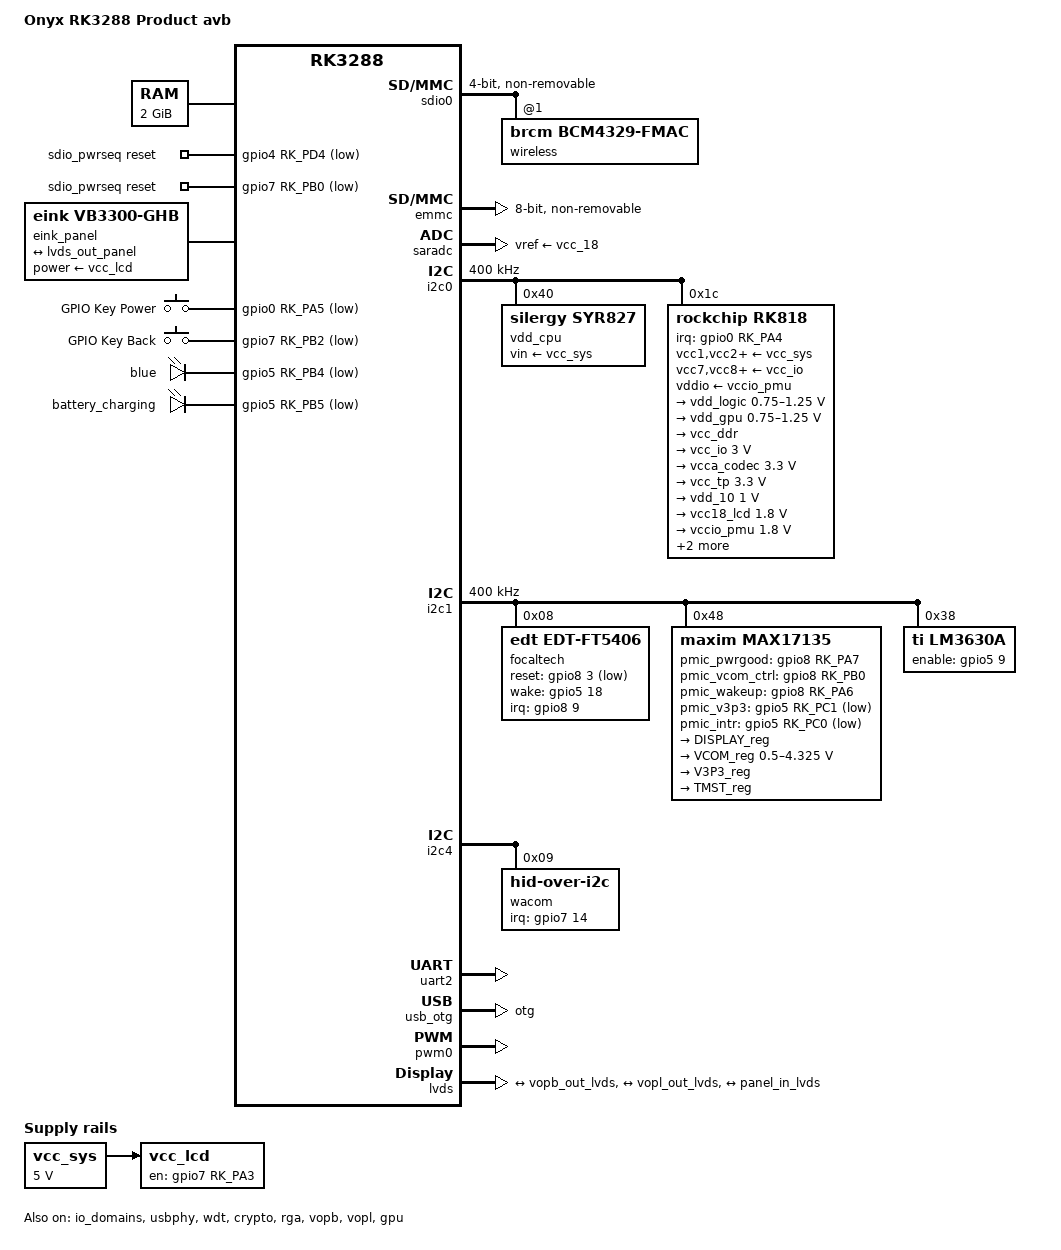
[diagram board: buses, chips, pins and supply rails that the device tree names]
// SPDX-License-Identifier: (GPL-2.0+ OR MIT)
/dts-v1/;

#include <dt-bindings/input/input.h>
#include <dt-bindings/clock/rockchip,rk808.h>
#include "rk3288.dtsi"

/ {
	compatible = "rockchip,rk3288-evb-rk808", "rockchip,rk3288";
	model = "Onyx RK3288 Product avb";

	chosen {
		stdout-path = "serial2:115200n8";
	};

	memory@0 {
		device_type = "memory";
		reg = <0x0 0x0 0x0 0x80000000>;
	};

	psci {
		compatible = "arm,psci-1.0";
		method = "smc";
	};

	timer: timer@ff6b0000 {
			compatible = "rockchip,rk3288-timer";
			reg = <0x0 0xff6b0000 0x0 0x20>;
			interrupts = <GIC_SPI 66 IRQ_TYPE_LEVEL_HIGH>;
			clocks = <&cru PCLK_TIMER>, <&xin24m>;
			clock-names = "pclk", "timer";
	};

	sdio_pwrseq: sdio-pwrseq {
		compatible = "mmc-pwrseq-simple";
		clocks = <&rk818 RK808_CLKOUT1>;
		clock-names = "ext_clock";
		pinctrl-names = "default";
		pinctrl-0 = <&wifi_enable_h &chip_enable_h>;
		reset-gpios = <&gpio4 RK_PD4 GPIO_ACTIVE_LOW>, <&gpio7 RK_PB0 GPIO_ACTIVE_LOW>;
	};

	vcc_sys: vsys-regulator {
		compatible = "regulator-fixed";
		regulator-name = "vcc_sys";
		regulator-min-microvolt = <5000000>;
		regulator-max-microvolt = <5000000>;
		regulator-always-on;
		regulator-boot-on;
	};

	vcc_lcd: vcc-lcd {
		compatible = "regulator-fixed";
		regulator-name = "vcc_lcd";
		enable-active-high;
		regulator-boot-on;
		gpio = <&gpio7 RK_PA3 GPIO_ACTIVE_HIGH>;
		pinctrl-names = "default";
		pinctrl-0 = <&lcd_en>;
		vin-supply = <&vcc_sys>;
	};

	eink_panel {
		compatible = "eink,vb3300-ghb";
		status = "okay";
		power-supply = <&vcc_lcd>;
		port {
			panel_in_lvds: endpoint {
				remote-endpoint = <&lvds_out_panel>;
			};
		};
	};

	gpio-keys {
		compatible = "gpio-keys";

		pinctrl-names = "default";
		pinctrl-0 = <&btns_pinctrl>;

		power {
			gpios = <&gpio0 RK_PA5 GPIO_ACTIVE_LOW>;
			linux,code = <KEY_POWER>;
			label = "GPIO Key Power";
			linux,input-type = <1>;
			wakeup-source;
		};
		back {
			gpios = <&gpio7 RK_PB2 GPIO_ACTIVE_LOW>;
			linux,code = <KEY_BACK>;
			label = "GPIO Key Back";
			linux,input-type = <1>;
		};
	};

	leds {
		compatible = "gpio-leds";
		led-blue {
			label = "blue";
			gpios = <&gpio5 RK_PB4 GPIO_ACTIVE_LOW>;
			default-state = "on";
		};
		led-red {
			label = "battery_charging";
			gpios = <&gpio5 RK_PB5 GPIO_ACTIVE_LOW>;
			default-state = "off";
			linux,default-trigger = "heartbeat";
		};
	};

};

/delete-node/ &timer;

&cpus {
	enable-method = "rockchip,psci-smp";
};

&cpu0 {
	cpu-supply = <&vdd_cpu>;
};

&dmac_bus_s {
	reg = <0x0 0xff600000 0x0 0x4000>;
};

&sdio0 {
	max-frequency = <25000000>;
	bus-width = <4>;
	cap-sd-highspeed;
	cap-sdio-irq;
	disable-wp;
	mmc-pwrseq = <&sdio_pwrseq>;
	non-removable;
	num-slots = <1>;
	pinctrl-names = "default";
	pinctrl-0 = <&sdio0_bus4 &sdio0_cmd &sdio0_clk &sdio0_int>;
	sd-uhs-sdr104;
	supports-sdio;
	#address-cells = <1>;
	#size-cells = <0>;
	status = "okay";
	wireless: wifi@1 {
		compatible = "brcm,bcm4329-fmac";
		reg = <1>;
	};
};

&emmc {
	status = "okay";
	supports-emmc;
	bus-width = <8>;
	cap-mmc-highspeed;
	disable-wp;
	non-removable;
	num-slots = <1>;
	pinctrl-names = "default";
	pinctrl-0 = <&emmc_clk &emmc_cmd &emmc_pwr &emmc_bus8>;
	max-frequency = <100000000>;
	mmc-hs200-1_8v;
	mmc-ddr-1_8v;
};

&saradc {
	status = "okay";
	vref-supply = <&vcc_18>; 
};

&i2c0 {
	status = "okay";
	clock-frequency = <400000>;

	vdd_cpu: syr827@40 {
		compatible = "silergy,syr827";
		fcs,suspend-voltage-selector = <1>;
		reg = <0x40>;
		regulator-name = "vdd_cpu";
		regulator-min-microvolt = <850000>;
		regulator-max-microvolt = <1350000>;
		regulator-ramp-delay = <1000>;
		regulator-always-on;
		regulator-boot-on;
		vin-supply = <&vcc_sys>;
		regulator-state-standby {
			regulator-off-in-suspend;
		};
		regulator-state-mem {
			regulator-off-in-suspend;
		};
	};

	rk818: pmic@1c {
		compatible = "rockchip,rk818";
		reg = <0x1c>;
		status = "okay";
		interrupt-parent = <&gpio0>;
		interrupts = <RK_PA4 IRQ_TYPE_LEVEL_LOW>;
		pinctrl-names = "default";
		pinctrl-0 = <&pmic_int>;
		rockchip,system-power-controller;
		wakeup-source;
		#clock-cells = <1>;
		vcc1-supply = <&vcc_sys>;
		vcc2-supply = <&vcc_sys>;
		vcc3-supply = <&vcc_sys>;
		vcc4-supply = <&vcc_sys>;
		vcc6-supply = <&vcc_sys>;
		vcc7-supply = <&vcc_io>;
		vcc8-supply = <&vcc_io>;
		vcc9-supply = <&vcc_io>;
		vddio-supply = <&vccio_pmu>;

		regulators {

			vdd_logic: DCDC_REG1 {
				regulator-name = "vdd_logic";
				regulator-always-on;
				regulator-boot-on;
				regulator-min-microvolt = <750000>;
				regulator-max-microvolt = <1250000>;
				regulator-ramp-delay = <6001>;
				regulator-state-standy {
					regulator-on-in-suspend;
					regulator-suspend-microvolt = <1000000>;
				};
				regulator-state-mem {
					regulator-on-in-suspend;
					regulator-suspend-microvolt = <900000>;
				};
			};

			vdd_gpu: DCDC_REG2 {
				regulator-name = "vdd_gpu";
				regulator-always-on;
				regulator-boot-on;
				regulator-min-microvolt = <750000>;
				regulator-max-microvolt = <1250000>;
				regulator-ramp-delay = <6001>;

				regulator-state-standby {
					regulator-off-in-suspend;
				};
				regulator-state-mem {
					regulator-off-in-suspend;
				};
			};

			vcc_ddr: DCDC_REG3 {
				regulator-always-on;
				regulator-boot-on;
				regulator-name = "vcc_ddr";

				regulator-state-standby {
					regulator-on-in-suspend;
					regulator-suspend-microvolt = <1200000>;
				};
				regulator-state-mem {
					regulator-on-in-suspend;
					regulator-suspend-microvolt = <1150000>;
				};
			};

			vcc_io: DCDC_REG4 {
				regulator-always-on;
				regulator-boot-on;
				regulator-min-microvolt = <3000000>;
				regulator-max-microvolt = <3000000>;
				regulator-name = "vcc_io";

				regulator-state-standby {
					regulator-on-in-suspend;
					regulator-suspend-microvolt = <3000000>;
				};
				regulator-state-mem {
					regulator-off-in-suspend;
					regulator-suspend-microvolt = <3000000>;
				};
			};

			vcca_codec: LDO_REG1 {
				regulator-always-on;
				regulator-boot-on;
				regulator-min-microvolt = <3300000>;
				regulator-max-microvolt = <3300000>;
				regulator-name = "vcca_codec";

				regulator-state-standby {
					regulator-off-in-suspend;
				};

				regulator-state-mem {
					regulator-off-in-suspend;
				};
			};

			vcc_tp: LDO_REG2 {
				regulator-always-on;
				regulator-boot-on;
				regulator-min-microvolt = <3300000>;
				regulator-max-microvolt = <3300000>;
				regulator-name = "vcc_tp";

				regulator-state-standby {
					regulator-on-in-suspend;
					regulator-suspend-microvolt = <3300000>;
				};
				regulator-state-mem {
					regulator-off-in-suspend;
				};
			};

			vdd_10: LDO_REG3 {
				regulator-always-on;
				regulator-boot-on;
				regulator-min-microvolt = <1000000>;
				regulator-max-microvolt = <1000000>;
				regulator-name = "vdd_10";

				regulator-state-standby {
					regulator-on-in-suspend;
					regulator-suspend-microvolt = <1000000>;
				};
				regulator-state-mem {
					regulator-on-in-suspend;
					regulator-suspend-microvolt = <900000>;
				};
			};

			vcc18_lcd: LDO_REG4 {
				regulator-always-on;
				regulator-boot-on;
				regulator-min-microvolt = <1800000>;
				regulator-max-microvolt = <1800000>;
				regulator-name = "vcc18_lcd";

				regulator-state-standby {
					regulator-off-in-suspend;
				};
				regulator-state-mem {
					regulator-off-in-suspend;
				};
			};

			vccio_pmu: LDO_REG5 {
				regulator-always-on;
				regulator-boot-on;
				regulator-min-microvolt = <1800000>;
				regulator-max-microvolt = <1800000>;
				regulator-name = "vccio_pmu";

				regulator-state-standby {
					regulator-on-in-suspend;
					regulator-suspend-microvolt = <1800000>;
				};
				regulator-state-mem {
					regulator-on-in-suspend;
					regulator-suspend-microvolt = <1800000>;
				};
			};

			vdd10_lcd: LDO_REG6 {
				regulator-always-on;
				regulator-boot-on;
				regulator-min-microvolt = <1000000>;
				regulator-max-microvolt = <1000000>;
				regulator-name = "vdd10_lcd";

				regulator-state-standby {
					regulator-off-in-suspend;
				};
				regulator-state-mem {
					regulator-off-in-suspend;
				};
			};

			vcc_18: LDO_REG7 {
				regulator-always-on;
				regulator-boot-on;
				regulator-min-microvolt = <1800000>;
				regulator-max-microvolt = <1800000>;
				regulator-name = "vcc_18";

				regulator-state-standby {
					regulator-on-in-suspend;
					regulator-suspend-microvolt = <1800000>;
				};
				regulator-state-mem {
					regulator-off-in-suspend;
				};
			};

			vccio_wl: LDO_REG8 {
				regulator-always-on;
				regulator-boot-on;
				regulator-min-microvolt = <1800000>;
				regulator-max-microvolt = <3300000>;
				regulator-name = "vccio_wl";

				regulator-state-standby {
					regulator-suspend-microvolt = <1800000>;
					regulator-on-in-suspend;
				};
				regulator-state-mem {
					regulator-suspend-microvolt = <1800000>;
					regulator-off-in-suspend;
				};
			};

			vccio_sd: LDO_REG9 {
				regulator-always-on;
				regulator-boot-on;
				regulator-min-microvolt = <3300000>;
				regulator-max-microvolt = <3300000>;
				regulator-name = "vccio_sd";

				regulator-state-standby {
					regulator-on-in-suspend;
					regulator-suspend-microvolt = <3300000>;
				};
				regulator-state-mem {
					regulator-off-in-suspend;
					regulator-suspend-microvolt = <3300000>;
				};
			};

			OTG_SWITCH {
				regulator-name = "otg_switch";
				regulator-state-standby {
					regulator-off-in-suspend;
				};
				regulator-state-mem {
					regulator-off-in-suspend;
				};
			};

		};
	};
};

&i2c1 {
	status = "okay";
	clock-frequency = <400000>;

	focaltech@8 {
		compatible = "edt,edt-ft5406";
		reg = <0x8>;
		interrupt-parent = <&gpio8>;
		interrupts = <9 IRQ_TYPE_EDGE_FALLING>;
		reset-gpios = <&gpio8 3 GPIO_ACTIVE_LOW>;
		wake-gpios = <&gpio5 18 GPIO_ACTIVE_HIGH>;
	};

	max17135@48 {
		compatible = "maxim,max17135";
		reg = <0x48>;
		pinctrl-names = "default";
		pinctrl-0 = <&max17135_gpios>;
		status = "okay";
		gvee_pwrup = <0>;
		vneg_pwrup = <10>;
		vpos_pwrup = <20>;
		gvdd_pwrup = <25>;
		gvdd_pwrdn = <1>;
		vpos_pwrdn = <3>;
		vneg_pwrdn = <10>;
		gvee_pwrdn = <50>;
		max_wait = <24>;
		gpio_pmic_pwrgood = <&gpio8 RK_PA7 GPIO_ACTIVE_HIGH>;
		gpio_pmic_vcom_ctrl = <&gpio8 RK_PB0 GPIO_ACTIVE_HIGH>;
		gpio_pmic_wakeup = <&gpio8 RK_PA6 GPIO_ACTIVE_HIGH>;
		gpio_pmic_v3p3 = <&gpio5 RK_PC1 GPIO_ACTIVE_LOW>;
		gpio_pmic_intr = <&gpio5 RK_PC0 GPIO_ACTIVE_LOW>;
		regulators {
			DISPLAY_reg: DISPLAY {
				regulator-name = "DISPLAY";
			};
			VCOM_reg: VCOM {
				regulator-name = "VCOM";
				regulator-max-microvolt = <4325000>;
				regulator-min-microvolt = <500000>;
			};
			V3P3_reg: V3P3 {
				regulator-name = "V3P3";
			};
			TMST_reg: TMST {
				regulator-name = "TMST";
			};
     };
   };

   lm3630a@38 {
		compatible = "ti,lm3630a";
		reg = <0x38>;
		enable-gpios = <&gpio5 9 GPIO_ACTIVE_HIGH>;
		#address-cells = <1>;
		#size-cells = <0>;
		led@0 {
			reg = <0>;
			default-brightness = <0>;
		};
		led@1 {
			reg = <1>;
			default-brightness = <0>;
		};
	};
};

&i2c4 {
	status = "okay";
	wacom@9 {
		compatible = "hid-over-i2c";
		reg = <0x9>;
		hid-descr-addr = <0x1>;
		interrupt-parent = <&gpio7>;
		interrupts = <14 IRQ_TYPE_NONE>;
	};
};

&uart2 {
	status = "okay";
};

&io_domains {
	status = "okay";
	wifi-supply = <&vccio_wl>;
	dvp-supply = <&vcc_18>;
};

&usbphy {
	status = "okay";
};

&usb_otg {
	dr_mode = "otg";
	status = "okay";
};

&pwm0 {
	status = "okay";
};

&bus_intmem {
	status = "disabled";
};

&smp_sram {
	status = "disabled";
};

&efuse {
	status = "disabled";
};

&cru {
	compatible = "rockchip,rk3288w-cru";
};

&wdt {
	status = "okay";
};

&crypto {
	status = "okay";
};

&iep_mmu {
	status = "okay";
};

&isp_mmu {
	status = "okay";
};

&rga {
	status = "okay";
};

&vopb {
	status = "okay";
};

&vopb_mmu {
	status = "okay";
};

&vopl {
	status = "okay";
};

&vopl_mmu {
	status = "okay";
};

&lvds {
	pinctrl-names = "lcdc", "sleep";
	pinctrl-1 = <&lcdc_sleep>;	
	avdd1v0-supply = <&vdd10_lcd>;
	avdd1v8-supply = <&vcc18_lcd>;
	avdd3v3-supply = <&vcca_codec>;
	rockchip,output = "rgb";
	status = "okay";

	ports {
		#address-cells = <1>;
		#size-cells = <0>;

		lvds_in: port@0 {
			reg = <0>;
			#address-cells = <1>;
			#size-cells = <0>;
			lvds_in_vopb: endpoint@0 {
				reg = <0>;
				remote-endpoint = <&vopb_out_lvds>;
			};
			lvds_in_vopl: endpoint@1 {
				reg = <1>;
				remote-endpoint = <&vopl_out_lvds>;
				status = "disabled";
			};
		};
		lvds_out: port@1 {
			reg = <1>;
			lvds_out_panel: endpoint {
				remote-endpoint = <&panel_in_lvds>;
			};
		};
	};
};

&gpu {
	mali-supply = <&vdd_gpu>;
	status = "okay";
};

&pinctrl {
  pmic {
    pmic_int: pmic-int {
      rockchip,pins = <0 RK_PA4 0 &pcfg_pull_up>;
    };

    vsel1_gpio: vsel1-gpio {
      rockchip,pins = <0 RK_PA0 0 &pcfg_pull_down>;
    };
  };

	lcdc {
		lcdc_ctl: lcdc-ctl {
			rockchip,pins = <1 RK_PD0 1 &pcfg_pull_none_12ma>, 
				<1 RK_PD1 RK_FUNC_GPIO &pcfg_pull_none>,
				<1 RK_PD2 RK_FUNC_GPIO &pcfg_pull_none>, 
				<1 RK_PD3 RK_FUNC_GPIO &pcfg_pull_none>;
		};
		lcdc_sleep: lcdc-sleep {
			rockchip,pins = <1 RK_PD3 0 &pcfg_pull_none>, <1 RK_PD2 0 &pcfg_pull_none>,
				<1 RK_PD1 0 &pcfg_pull_none>, <1 RK_PD0 0 &pcfg_pull_none>;
		};
	};

	lcd {
		lcd_en: lcd-en {
			rockchip,pins = <7 RK_PA3 RK_FUNC_GPIO &pcfg_pull_none>;
		};
	};

	sdio-pwrseq {
		wifi_enable_h: wifi-enable-h {
			rockchip,pins = <4 RK_PD4 RK_FUNC_GPIO &pcfg_pull_none>;
		};
		chip_enable_h: chip-enable-h {
			rockchip,pins = <7 RK_PB0 RK_FUNC_GPIO &pcfg_pull_none>;
		};
	};

	stylus {
		wacom_int: wacom-int {
			rockchip,pins = <7 RK_PB6 RK_FUNC_GPIO &pcfg_pull_up>;
		};
	};

	captp {
		captp_int: captp-int {
			rockchip,pins = <8 RK_PB1 RK_FUNC_GPIO &pcfg_pull_up>;
		};
	};

	buttons {
		btns_pinctrl: btns-pinctrl {
			rockchip,pins = <0 RK_PA5 RK_FUNC_GPIO &pcfg_pull_up>,
					<7 RK_PB2 RK_FUNC_GPIO &pcfg_pull_up>;
		};
	};

	max17135 {
		max17135_gpios: max17135-gpios {
			rockchip,pins = <5 RK_PC0 RK_FUNC_GPIO &pcfg_pull_up>,
					<5 RK_PC1 RK_FUNC_GPIO &pcfg_pull_up>,
					<8 RK_PA6 RK_FUNC_GPIO &pcfg_pull_up>,
					<8 RK_PA7 RK_FUNC_GPIO &pcfg_pull_up>,
					<8 RK_PB0 RK_FUNC_GPIO &pcfg_pull_up>;
		};
	};
};
